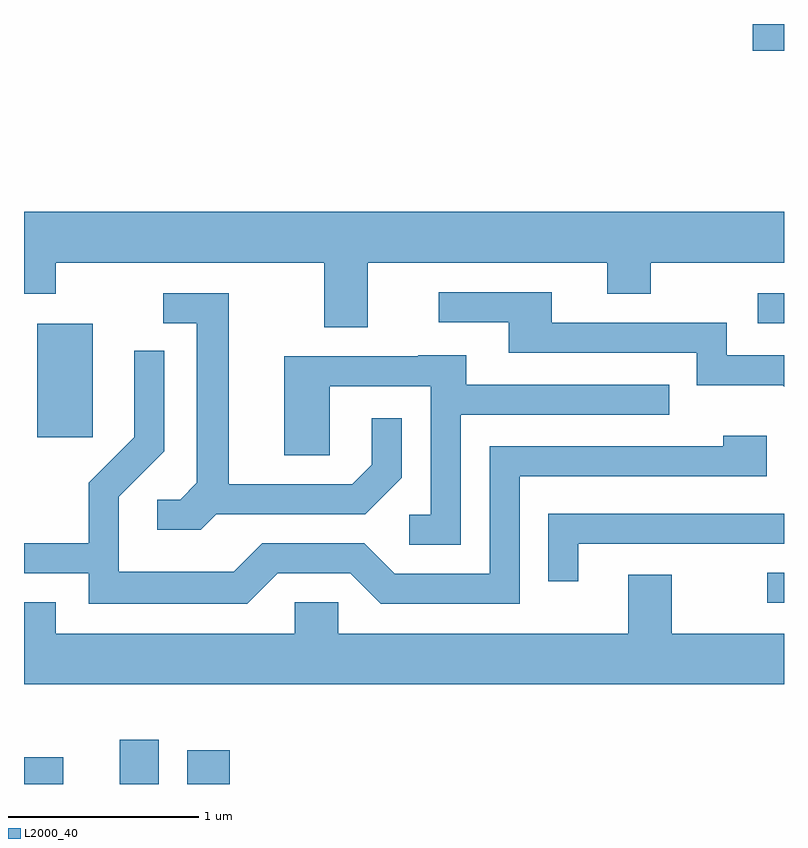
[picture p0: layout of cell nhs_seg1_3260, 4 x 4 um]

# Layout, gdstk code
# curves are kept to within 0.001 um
import gdstk
lib = gdstk.Library(unit=1e-6, precision=1e-09)
def R(c, l, rs):  # rectangles x0, y0, x1, y1
    for r in rs: c.add(gdstk.rectangle(r[:2], r[2:], *l))
def P(c, l, *ps):  # polygons
    for p in ps: c.add(gdstk.Polygon(p, *l))
L2000_40 = (2000, 40)

nhs_seg1_3260 = lib.new_cell('nhs_seg1_3260')
R(nhs_seg1_3260, L2000_40, [(283.611,905.712,283.818,905.854), (284.116,905.712,284.319,905.944), (284.471,905.712,284.694,905.889), (287.523,906.666,287.611,906.824), (283.681,907.536,283.974,908.134), (287.473,908.136,287.611,908.294), (287.446,909.571,287.611,909.712)])
P(nhs_seg1_3260, L2000_40, [(285.419,908.456),(286.681,908.456),(286.681,908.291),(286.909,908.291),(286.909,908.456),(287.611,908.456),(287.611,908.724),(283.611,908.724),(283.611,908.291),(283.779,908.291),(283.779,908.456),(285.191,908.456),(285.191,908.116),(285.419,908.116)],
  [(287.611,907.969),(287.309,907.969),(287.309,908.139),(286.389,908.139),(286.389,908.299),(285.793,908.299),(285.793,908.141),(286.161,908.141),(286.161,907.981),(287.151,907.981),(287.151,907.811),(287.604,907.811),(287.611,907.804)],
  [(284.622,907.131),(285.407,907.131),(285.599,907.324),(285.599,907.638),(285.441,907.638),(285.441,907.392),(285.339,907.289),(284.689,907.289),(284.689,908.294),(284.343,908.294),(284.343,908.136),(284.521,908.136),(284.521,907.297),(284.434,907.209),(284.313,907.209),(284.313,907.051),(284.542,907.051)],
  [(284.947,906.821),(285.329,906.821),(285.489,906.661),(286.219,906.661),(286.219,907.331),(287.519,907.331),(287.519,907.544),(287.291,907.544),(287.291,907.489),(286.061,907.489),(286.061,906.819),(285.562,906.819),(285.402,906.979),(284.864,906.979),(284.714,906.829),(284.109,906.829),(284.109,907.224),(284.349,907.464),(284.349,907.993),(284.191,907.993),(284.191,907.537),(283.951,907.297),(283.951,906.979),(283.611,906.979),(283.611,906.821),(283.951,906.821),(283.951,906.661),(284.787,906.661)],
  [(285.909,907.656),(287.008,907.656),(287.008,907.814),(285.939,907.814),(285.939,907.969),(285.685,907.969),(285.685,907.964),(284.981,907.964),(284.981,907.441),(285.219,907.441),(285.219,907.806),(285.751,907.806),(285.751,907.129),(285.638,907.129),(285.638,906.971),(285.909,906.971)],
  [(286.529,906.976),(287.611,906.976),(287.611,907.134),(286.371,907.134),(286.371,906.778),(286.529,906.778)],
  [(287.611,906.504),(287.019,906.504),(287.019,906.814),(286.791,906.814),(286.791,906.504),(285.264,906.504),(285.264,906.669),(285.036,906.669),(285.036,906.504),(283.779,906.504),(283.779,906.669),(283.611,906.669),(283.611,906.236),(287.611,906.236)])

lib.write_gds('nhs_seg1_3260.gds')
